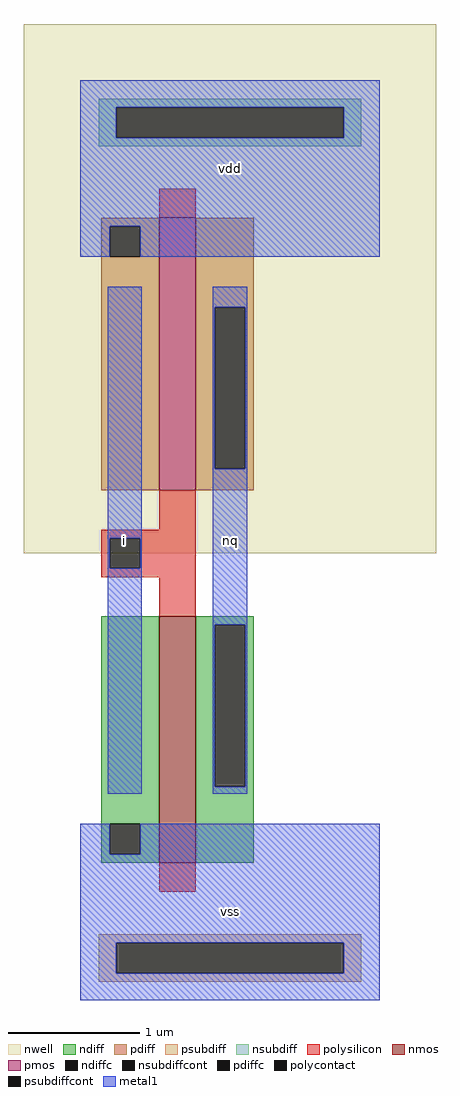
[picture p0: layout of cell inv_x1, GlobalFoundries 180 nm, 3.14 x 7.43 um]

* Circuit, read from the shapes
.subckt inv_x1 vss vdd nq i
XM1 nq i vss vss nfet_03v3 w=1.875u l=0.28u
XM2 nq i vdd vdd pfet_03v3 w=2.075u l=0.28u
.ends

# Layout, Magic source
magic
tech gf180mcuD
magscale 1 10
<< nwell >>
rect -86 680 542 1486
<< nmos >>
rect 120 209 176 584
<< pmos >>
rect 120 776 176 1191
<< ndiff >>
rect 32 268 120 584
rect 32 222 45 268
rect 91 222 120 268
rect 32 209 120 222
rect 176 571 264 584
rect 176 325 205 571
rect 251 325 264 571
rect 176 209 264 325
<< pdiff >>
rect 32 1178 120 1191
rect 32 1132 45 1178
rect 91 1132 120 1178
rect 32 776 120 1132
rect 176 1055 264 1191
rect 176 809 205 1055
rect 251 809 264 1055
rect 176 776 264 809
<< ndiffc >>
rect 45 222 91 268
rect 205 325 251 571
<< pdiffc >>
rect 45 1132 91 1178
rect 205 809 251 1055
<< psubdiff >>
rect 28 87 428 100
rect 28 41 55 87
rect 401 41 428 87
rect 28 28 428 41
<< nsubdiff >>
rect 28 1359 428 1372
rect 28 1313 55 1359
rect 401 1313 428 1359
rect 28 1300 428 1313
<< psubdiffcont >>
rect 55 41 401 87
<< nsubdiffcont >>
rect 55 1313 401 1359
<< polysilicon >>
rect 120 1191 176 1235
rect 120 716 176 776
rect 32 703 176 716
rect 32 657 45 703
rect 91 657 176 703
rect 32 644 176 657
rect 120 584 176 644
rect 120 165 176 209
<< polycontact >>
rect 45 657 91 703
<< metal1 >>
rect 0 1359 456 1400
rect 0 1313 55 1359
rect 401 1313 456 1359
rect 0 1178 456 1313
rect 0 1132 45 1178
rect 91 1132 456 1178
rect 42 703 94 1086
rect 42 657 45 703
rect 91 657 94 703
rect 42 314 94 657
rect 202 1055 254 1086
rect 202 809 205 1055
rect 251 809 254 1055
rect 202 571 254 809
rect 202 325 205 571
rect 251 325 254 571
rect 202 314 254 325
rect 0 222 45 268
rect 91 222 456 268
rect 0 87 456 222
rect 0 41 55 87
rect 401 41 456 87
rect 0 0 456 41
<< labels >>
rlabel metal1 s 0 0 456 268 4 vss
port 3 nsew
rlabel metal1 s 0 1132 456 1400 4 vdd
port 5 nsew
rlabel metal1 s 202 314 254 1086 4 nq
port 7 nsew
rlabel metal1 s 42 314 94 1086 4 i
port 9 nsew
<< end >>
